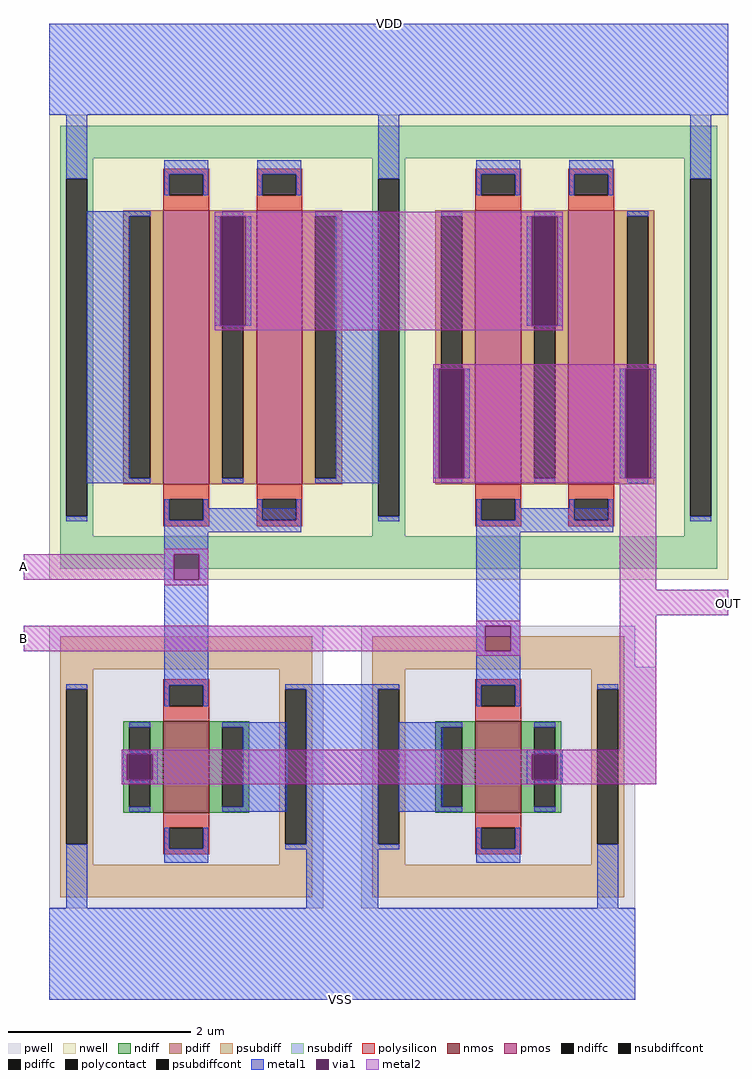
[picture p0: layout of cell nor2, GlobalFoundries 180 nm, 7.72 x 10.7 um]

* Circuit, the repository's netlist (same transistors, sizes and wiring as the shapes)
* NGSPICE file created from nor2.ext - technology: gf180mcuD

.subckt nfet_03v3_EKBWUP a_n138_n100# a_n50_n192# a_50_n100# a_n276_n286#
X0 a_50_n100# a_n50_n192# a_n138_n100# a_n276_n286# nfet_03v3 ad=0.44p pd=2.88u as=0.44p ps=2.88u w=1u l=0.5u
.ends

.subckt pfet_03v3_LJLJK4 a_152_n300# a_n240_n300# w_n402_n510# a_n52_n300# a_52_n392#
+ a_n152_n392#
X0 a_152_n300# a_52_n392# a_n52_n300# w_n402_n510# pfet_03v3 ad=1.32p pd=6.88u as=0.78p ps=3.52u w=3u l=0.5u
X1 a_n52_n300# a_n152_n392# a_n240_n300# w_n402_n510# pfet_03v3 ad=0.78p pd=3.52u as=1.32p ps=6.88u w=3u l=0.5u
.ends

.subckt nor2 VDD VSS OUT A B
Xnfet_03v3_EKBWUP_0 VSS B OUT VSS nfet_03v3_EKBWUP
XXM1 OUT A VSS VSS nfet_03v3_EKBWUP
XXM3 VDD VDD VDD m1_2142_237# A A pfet_03v3_LJLJK4
Xpfet_03v3_LJLJK4_0 OUT OUT VDD m1_2142_237# B B pfet_03v3_LJLJK4
.ends

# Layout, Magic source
magic
tech gf180mcuD
magscale 1 10
<< nwell >>
rect 2812 -216 3016 -163
rect 2050 -265 2053 -262
<< pwell >>
rect 3030 -692 3110 -510
rect 2906 -768 3110 -692
<< nsubdiff >>
rect 2050 -265 2053 -262
<< metal1 >>
rect 1780 700 3268 900
rect 1817 571 1863 700
rect 2032 569 2128 600
rect 2236 569 2332 600
rect 2501 571 2547 700
rect 2716 569 2812 600
rect 2920 569 3016 600
rect 3185 571 3231 700
rect 1862 -108 1957 488
rect 2142 237 2154 477
rect 2210 237 2222 477
rect 2408 -108 2503 488
rect 2826 237 2838 477
rect 2894 237 2906 477
rect 2622 -97 2634 143
rect 2690 -97 2702 143
rect 3030 -97 3042 143
rect 3098 -97 3110 143
rect 2128 -189 2332 -163
rect 2812 -189 3016 -163
rect 2032 -216 2332 -189
rect 2716 -216 3016 -189
rect 2032 -264 2128 -216
rect 2032 -320 2052 -264
rect 2108 -320 2128 -264
rect 2032 -551 2128 -320
rect 2716 -420 2812 -216
rect 2716 -476 2736 -420
rect 2792 -476 2812 -420
rect 1938 -702 2018 -692
rect 1938 -758 1950 -702
rect 2006 -758 2018 -702
rect 1938 -768 2018 -758
rect 2204 -828 2301 -632
rect 1817 -1040 1863 -911
rect 2032 -940 2128 -909
rect 2343 -1040 2501 -549
rect 2716 -551 2812 -476
rect 2546 -828 2643 -632
rect 2826 -702 2906 -692
rect 2826 -758 2838 -702
rect 2894 -758 2906 -702
rect 2826 -768 2906 -758
rect 2716 -940 2812 -909
rect 2981 -1040 3027 -911
rect 1780 -1240 3064 -1040
<< via1 >>
rect 2154 237 2210 477
rect 2838 237 2894 477
rect 2634 -97 2690 143
rect 3042 -97 3098 143
rect 2052 -320 2108 -264
rect 2736 -476 2792 -420
rect 1950 -758 2006 -702
rect 2838 -758 2894 -702
<< metal2 >>
rect 2142 477 2906 487
rect 2142 237 2154 477
rect 2210 237 2838 477
rect 2894 237 2906 477
rect 2142 227 2906 237
rect 2622 143 3110 153
rect 2622 -97 2634 143
rect 2690 -97 3042 143
rect 3098 -97 3110 143
rect 2622 -107 3110 -97
rect 2032 -264 2128 -252
rect 1724 -320 2052 -264
rect 2108 -320 2128 -264
rect 2032 -332 2128 -320
rect 3030 -342 3110 -107
rect 3030 -398 3268 -342
rect 2716 -420 2812 -410
rect 1724 -476 2736 -420
rect 2792 -476 2812 -420
rect 2716 -486 2812 -476
rect 3030 -692 3110 -398
rect 1938 -702 3110 -692
rect 1938 -758 1950 -702
rect 2006 -758 2838 -702
rect 2894 -758 3110 -702
rect 1938 -768 3110 -758
use nfet_03v3_EKBWUP  nfet_03v3_EKBWUP_0
transform 1 0 2764 0 1 -730
box -300 -310 300 310
use pfet_03v3_LJLJK4  pfet_03v3_LJLJK4_0
transform 1 0 2866 0 1 190
box -402 -510 402 510
use nfet_03v3_EKBWUP  XM1
transform 1 0 2080 0 1 -730
box -300 -310 300 310
use pfet_03v3_LJLJK4  XM3
transform 1 0 2182 0 1 190
box -402 -510 402 510
<< labels >>
rlabel metal1 2525 900 2525 900 1 VDD
port 0 n
rlabel metal1 2418 -1240 2418 -1240 5 VSS
port 1 s
rlabel metal2 3268 -371 3268 -371 3 OUT
port 2 e
rlabel metal2 1724 -291 1724 -291 7 A
port 3 w
rlabel metal2 1724 -448 1724 -448 7 B
port 4 w
<< end >>

# cell nfet_03v3_EKBWUP: kit device nfet_03v3, w 1.0 l 0.5 m 1 nf 1 diffcov 100 polycov 100 guard 1 glc 1 grc 1 gtc 0 gbc 0 tbcov 100 rlcov 100 topc 1 botc 1 poverlap 0 doverlap 1 lmin 0.28 wmin 0.22 class mosfet full_metal 0 compatible {nfet_03v3 nfet_06v0 nfet_06v0_nvt}

# cell pfet_03v3_LJLJK4: kit device pfet_03v3, w 3.0 l 0.5 m 1 nf 2 diffcov 100 polycov 100 guard 1 glc 1 grc 1 gtc 0 gbc 0 tbcov 100 rlcov 100 topc 1 botc 1 poverlap 0 doverlap 1 lmin 0.28 wmin 0.22 class mosfet full_metal 0 compatible {pfet_03v3 pfet_06v0}
